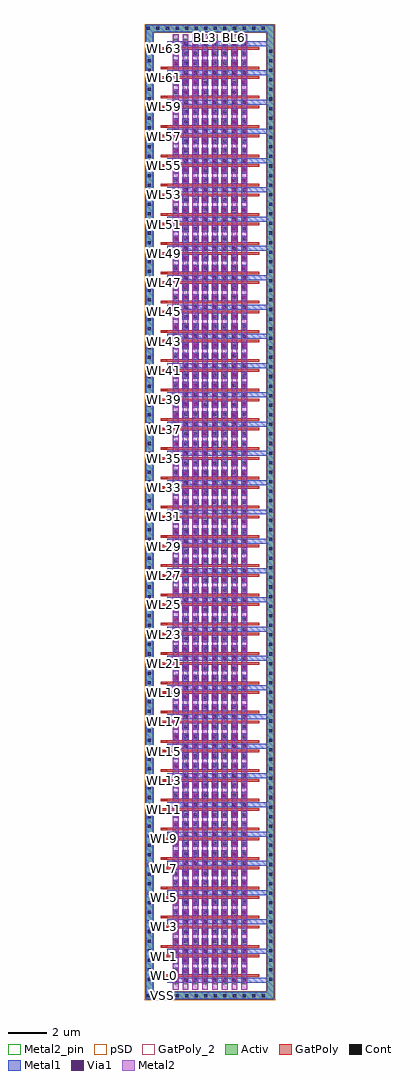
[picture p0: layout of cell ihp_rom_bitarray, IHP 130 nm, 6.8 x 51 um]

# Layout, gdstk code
import gdstk
lib = gdstk.Library(unit=1e-6, precision=1e-09)
def R(c, l, rs):  # rectangles x0, y0, x1, y1
    for r in rs: c.add(gdstk.rectangle(r[:2], r[2:], *l))
def A(c, l, x, y, w, h, nx, ny, dx, dy):  # array of equal rectangles
    R(c, l, [(x+i*dx, y+j*dy, x+i*dx+w, y+j*dy+h) for i in range(nx) for j in range(ny)])
Activ = (1, 0)
GatPoly = (5, 0)
GatPoly_2 = (5, 2)
Cont = (6, 0)
Metal1 = (8, 0)
Metal2 = (10, 0)
Metal2_pin = (10, 2)
pSD = (14, 0)
Via1 = (19, 0)

ihp_rom_bitarray = lib.new_cell('ihp_rom_bitarray')
A(ihp_rom_bitarray, Activ, 0.105, -0.19, 0.3, 0.85, 8, 2, 0.51, 48.49)
A(ihp_rom_bitarray, Activ, 0.105, 0.87, 0.3, 1.32, 8, 31, 0.51, 1.53)
R(ihp_rom_bitarray, Activ, [(-1.33,-0.99,5.41,-0.59), (-1.33,-0.59,-0.93,49.55), (5.01,-0.59,5.41,49.55), (-1.33,49.55,5.41,49.95)])
R(ihp_rom_bitarray, GatPoly, [(-0.53,0.19,4.61,0.32), (-0.53,1.21,4.61,1.34), (-0.53,1.72,4.61,1.85), (-0.53,2.74,4.61,2.87), (-0.53,3.25,4.61,3.38), (-0.53,4.27,4.61,4.4), (-0.53,4.78,4.61,4.91), (-0.53,5.8,4.61,5.93), (-0.53,6.31,4.61,6.44), (-0.53,7.33,4.61,7.46), (-0.53,7.84,4.61,7.97), (-0.53,8.86,4.61,8.99), (-0.53,9.37,4.61,9.5), (-0.53,10.39,4.61,10.52), (-0.53,10.9,4.61,11.03), (-0.53,11.92,4.61,12.05), (-0.53,12.43,4.61,12.56), (-0.53,13.45,4.61,13.58), (-0.53,13.96,4.61,14.09), (-0.53,14.98,4.61,15.11), (-0.53,15.49,4.61,15.62), (-0.53,16.51,4.61,16.64), (-0.53,17.02,4.61,17.15), (-0.53,18.04,4.61,18.17), (-0.53,18.55,4.61,18.68), (-0.53,19.57,4.61,19.7), (-0.53,20.08,4.61,20.21), (-0.53,21.1,4.61,21.23), (-0.53,21.61,4.61,21.74), (-0.53,22.63,4.61,22.76), (-0.53,23.14,4.61,23.27), (-0.53,24.16,4.61,24.29), (-0.53,24.67,4.61,24.8), (-0.53,25.69,4.61,25.82), (-0.53,26.2,4.61,26.33), (-0.53,27.22,4.61,27.35), (-0.53,27.73,4.61,27.86), (-0.53,28.75,4.61,28.88), (-0.53,29.26,4.61,29.39), (-0.53,30.28,4.61,30.41), (-0.53,30.79,4.61,30.92), (-0.53,31.81,4.61,31.94), (-0.53,32.32,4.61,32.45), (-0.53,33.34,4.61,33.47), (-0.53,33.85,4.61,33.98), (-0.53,34.87,4.61,35), (-0.53,35.38,4.61,35.51), (-0.53,36.4,4.61,36.53), (-0.53,36.91,4.61,37.04), (-0.53,37.93,4.61,38.06), (-0.53,38.44,4.61,38.57), (-0.53,39.46,4.61,39.59), (-0.53,39.97,4.61,40.1), (-0.53,40.99,4.61,41.12), (-0.53,41.5,4.61,41.63), (-0.53,42.52,4.61,42.65), (-0.53,43.03,4.61,43.16), (-0.53,44.05,4.61,44.18), (-0.53,44.56,4.61,44.69), (-0.53,45.58,4.61,45.71), (-0.53,46.09,4.61,46.22), (-0.53,47.11,4.61,47.24), (-0.53,47.62,4.61,47.75), (-0.53,48.64,4.61,48.77)])
R(ihp_rom_bitarray, GatPoly_2, [(-0.49,0.21,-0.19,0.3), (-0.49,1.23,-0.19,1.32), (-0.49,1.74,-0.19,1.83), (-0.49,2.76,-0.19,2.85), (-0.49,3.27,-0.19,3.36), (-0.49,4.29,-0.19,4.38), (-0.49,4.8,-0.19,4.89), (-0.49,5.82,-0.19,5.91), (-0.49,6.33,-0.19,6.42), (-0.49,7.35,-0.19,7.44), (-0.49,7.86,-0.19,7.95), (-0.49,8.88,-0.19,8.97), (-0.49,9.39,-0.19,9.48), (-0.49,10.41,-0.19,10.5), (-0.49,10.92,-0.19,11.01), (-0.49,11.94,-0.19,12.03), (-0.49,12.45,-0.19,12.54), (-0.49,13.47,-0.19,13.56), (-0.49,13.98,-0.19,14.07), (-0.49,15,-0.19,15.09), (-0.49,15.51,-0.19,15.6), (-0.49,16.53,-0.19,16.62), (-0.49,17.04,-0.19,17.13), (-0.49,18.06,-0.19,18.15), (-0.49,18.57,-0.19,18.66), (-0.49,19.59,-0.19,19.68), (-0.49,20.1,-0.19,20.19), (-0.49,21.12,-0.19,21.21), (-0.49,21.63,-0.19,21.72), (-0.49,22.65,-0.19,22.74), (-0.49,23.16,-0.19,23.25), (-0.49,24.18,-0.19,24.27), (-0.49,24.69,-0.19,24.78), (-0.49,25.71,-0.19,25.8), (-0.49,26.22,-0.19,26.31), (-0.49,27.24,-0.19,27.33), (-0.49,27.75,-0.19,27.84), (-0.49,28.77,-0.19,28.86), (-0.49,29.28,-0.19,29.37), (-0.49,30.3,-0.19,30.39), (-0.49,30.81,-0.19,30.9), (-0.49,31.83,-0.19,31.92), (-0.49,32.34,-0.19,32.43), (-0.49,33.36,-0.19,33.45), (-0.49,33.87,-0.19,33.96), (-0.49,34.89,-0.19,34.98), (-0.49,35.4,-0.19,35.49), (-0.49,36.42,-0.19,36.51), (-0.49,36.93,-0.19,37.02), (-0.49,37.95,-0.19,38.04), (-0.49,38.46,-0.19,38.55), (-0.49,39.48,-0.19,39.57), (-0.49,39.99,-0.19,40.08), (-0.49,41.01,-0.19,41.1), (-0.49,41.52,-0.19,41.61), (-0.49,42.54,-0.19,42.63), (-0.49,43.05,-0.19,43.14), (-0.49,44.07,-0.19,44.16), (-0.49,44.58,-0.19,44.67), (-0.49,45.6,-0.19,45.69), (-0.49,46.11,-0.19,46.2), (-0.49,47.13,-0.19,47.22), (-0.49,47.64,-0.19,47.73), (-0.49,48.66,-0.19,48.75)])
A(ihp_rom_bitarray, Cont, -1.26, -0.87, 0.16, 0.16, 13, 2, 0.5, 50.54)
A(ihp_rom_bitarray, Cont, 0.175, -0.08, 0.16, 0.16, 8, 97, 0.51, 0.51)
A(ihp_rom_bitarray, Cont, -1.21, -0.02, 0.16, 0.16, 1, 98, 0, 0.5)
A(ihp_rom_bitarray, Cont, 5.13, -0.02, 0.16, 0.16, 1, 98, 0, 0.5)
A(ihp_rom_bitarray, Metal1, -0.2, -0.13, 5.61, 0.26, 1, 33, 0, 1.53)
A(ihp_rom_bitarray, Metal1, 5.01, 0.13, 0.4, 1.27, 1, 32, 0, 1.53)
A(ihp_rom_bitarray, Metal1, 0.09, 0.31, 0.33, 0.365, 8, 2, 0.51, 0.545)
A(ihp_rom_bitarray, Metal1, 0.09, 1.84, 0.33, 0.365, 8, 2, 0.51, 0.545)
A(ihp_rom_bitarray, Metal1, 0.09, 3.37, 0.33, 0.365, 8, 2, 0.51, 0.545)
A(ihp_rom_bitarray, Metal1, 0.09, 4.9, 0.33, 0.365, 8, 2, 0.51, 0.545)
A(ihp_rom_bitarray, Metal1, 0.09, 6.43, 0.33, 0.365, 8, 2, 0.51, 0.545)
A(ihp_rom_bitarray, Metal1, 0.09, 7.96, 0.33, 0.365, 8, 2, 0.51, 0.545)
A(ihp_rom_bitarray, Metal1, 0.09, 9.49, 0.33, 0.365, 8, 2, 0.51, 0.545)
A(ihp_rom_bitarray, Metal1, 0.09, 11.02, 0.33, 0.365, 8, 2, 0.51, 0.545)
A(ihp_rom_bitarray, Metal1, 0.09, 12.55, 0.33, 0.365, 8, 2, 0.51, 0.545)
A(ihp_rom_bitarray, Metal1, 0.09, 14.08, 0.33, 0.365, 8, 2, 0.51, 0.545)
A(ihp_rom_bitarray, Metal1, 0.09, 15.61, 0.33, 0.365, 8, 2, 0.51, 0.545)
A(ihp_rom_bitarray, Metal1, 0.09, 17.14, 0.33, 0.365, 8, 2, 0.51, 0.545)
A(ihp_rom_bitarray, Metal1, 0.09, 18.67, 0.33, 0.365, 8, 2, 0.51, 0.545)
A(ihp_rom_bitarray, Metal1, 0.09, 20.2, 0.33, 0.365, 8, 2, 0.51, 0.545)
A(ihp_rom_bitarray, Metal1, 0.09, 21.73, 0.33, 0.365, 8, 2, 0.51, 0.545)
A(ihp_rom_bitarray, Metal1, 0.09, 23.26, 0.33, 0.365, 8, 2, 0.51, 0.545)
A(ihp_rom_bitarray, Metal1, 0.09, 24.79, 0.33, 0.365, 8, 2, 0.51, 0.545)
A(ihp_rom_bitarray, Metal1, 0.09, 26.32, 0.33, 0.365, 8, 2, 0.51, 0.545)
A(ihp_rom_bitarray, Metal1, 0.09, 27.85, 0.33, 0.365, 8, 2, 0.51, 0.545)
A(ihp_rom_bitarray, Metal1, 0.09, 29.38, 0.33, 0.365, 8, 2, 0.51, 0.545)
A(ihp_rom_bitarray, Metal1, 0.09, 30.91, 0.33, 0.365, 8, 2, 0.51, 0.545)
A(ihp_rom_bitarray, Metal1, 0.09, 32.44, 0.33, 0.365, 8, 2, 0.51, 0.545)
A(ihp_rom_bitarray, Metal1, 0.09, 33.97, 0.33, 0.365, 8, 2, 0.51, 0.545)
A(ihp_rom_bitarray, Metal1, 0.09, 35.5, 0.33, 0.365, 8, 2, 0.51, 0.545)
A(ihp_rom_bitarray, Metal1, 0.09, 37.03, 0.33, 0.365, 8, 2, 0.51, 0.545)
A(ihp_rom_bitarray, Metal1, 0.09, 38.56, 0.33, 0.365, 8, 2, 0.51, 0.545)
A(ihp_rom_bitarray, Metal1, 0.09, 40.09, 0.33, 0.365, 8, 2, 0.51, 0.545)
A(ihp_rom_bitarray, Metal1, 0.09, 41.62, 0.33, 0.365, 8, 2, 0.51, 0.545)
A(ihp_rom_bitarray, Metal1, 0.09, 43.15, 0.33, 0.365, 8, 2, 0.51, 0.545)
A(ihp_rom_bitarray, Metal1, 0.09, 44.68, 0.33, 0.365, 8, 2, 0.51, 0.545)
A(ihp_rom_bitarray, Metal1, 0.09, 46.21, 0.33, 0.365, 8, 2, 0.51, 0.545)
A(ihp_rom_bitarray, Metal1, 0.09, 47.74, 0.33, 0.365, 8, 2, 0.51, 0.545)
R(ihp_rom_bitarray, Metal1, [(-1.33,-0.99,5.41,-0.59), (-1.33,-0.59,-0.93,49.55), (5.01,-0.59,5.41,-0.13), (5.01,49.09,5.41,49.55), (-1.33,49.55,5.41,49.95)])
A(ihp_rom_bitarray, Metal2, 0.105, -0.49, 0.3, 49.94, 8, 1, 0.51, 0)
R(ihp_rom_bitarray, Metal2, [(-0.7,-0.97,-0.2,-0.61)])
A(ihp_rom_bitarray, Metal2_pin, 0.125, 49.19, 0.26, 0.22, 8, 1, 0.51, 0)
R(ihp_rom_bitarray, Metal2_pin, [(-0.7,-0.97,-0.2,-0.61)])
R(ihp_rom_bitarray, pSD, [(-1.36,-1.02,5.44,-0.56), (-1.36,-0.56,-0.9,49.52), (4.98,-0.56,5.44,49.52), (-1.36,49.52,5.44,49.98)])
A(ihp_rom_bitarray, Via1, 0.16, 1.93, 0.19, 0.19, 3, 2, 1.53, 0.545)
A(ihp_rom_bitarray, Via1, 0.16, 4.005, 0.19, 0.19, 3, 2, 1.53, 2.515)
A(ihp_rom_bitarray, Via1, 0.16, 7.065, 0.19, 0.19, 3, 2, 1.53, 0.985)
A(ihp_rom_bitarray, Via1, 0.16, 8.595, 0.19, 0.19, 3, 2, 1.53, 2.515)
A(ihp_rom_bitarray, Via1, 0.16, 11.655, 0.19, 0.19, 3, 2, 1.53, 0.985)
A(ihp_rom_bitarray, Via1, 0.16, 13.185, 0.19, 0.19, 3, 2, 1.53, 2.515)
A(ihp_rom_bitarray, Via1, 0.16, 17.775, 0.19, 0.19, 3, 2, 1.53, 0.985)
A(ihp_rom_bitarray, Via1, 0.16, 20.29, 0.19, 0.19, 3, 2, 1.53, 2.075)
A(ihp_rom_bitarray, Via1, 0.16, 23.35, 0.19, 0.19, 3, 2, 1.53, 1.53)
A(ihp_rom_bitarray, Via1, 0.16, 26.955, 0.19, 0.19, 3, 2, 1.53, 0.985)
A(ihp_rom_bitarray, Via1, 0.16, 28.485, 0.19, 0.19, 3, 2, 1.53, 0.985)
A(ihp_rom_bitarray, Via1, 0.16, 31.545, 0.19, 0.19, 3, 2, 1.53, 2.515)
A(ihp_rom_bitarray, Via1, 0.16, 34.605, 0.19, 0.19, 3, 2, 1.53, 4.045)
A(ihp_rom_bitarray, Via1, 0.16, 39.195, 0.19, 0.19, 3, 2, 1.53, 1.53)
A(ihp_rom_bitarray, Via1, 0.16, 43.24, 0.19, 0.19, 3, 2, 1.53, 0.545)
A(ihp_rom_bitarray, Via1, 0.16, 44.77, 0.19, 0.19, 3, 2, 1.53, 0.545)
A(ihp_rom_bitarray, Via1, 0.16, 47.83, 0.19, 0.19, 3, 2, 1.53, 0.545)
R(ihp_rom_bitarray, Via1, [(-0.545,-0.885,-0.355,-0.695), (0.67,0.4,0.86,0.59), (1.18,0.4,1.37,0.59), (2.2,0.4,2.39,0.59), (2.71,0.4,2.9,0.59), (3.73,0.4,3.92,0.59), (0.67,0.945,0.86,1.135), (1.18,0.945,1.37,1.135), (2.2,0.945,2.39,1.135), (2.71,0.945,2.9,1.135), (3.73,0.945,3.92,1.135), (0.67,3.46,0.86,3.65), (1.18,3.46,1.37,3.65), (2.2,3.46,2.39,3.65), (2.71,3.46,2.9,3.65), (3.73,3.46,3.92,3.65), (0.67,4.99,0.86,5.18), (1.18,4.99,1.37,5.18), (2.2,4.99,2.39,5.18), (2.71,4.99,2.9,5.18), (3.73,4.99,3.92,5.18), (0.67,5.535,0.86,5.725), (1.18,5.535,1.37,5.725), (2.2,5.535,2.39,5.725), (2.71,5.535,2.9,5.725), (3.73,5.535,3.92,5.725), (0.67,9.58,0.86,9.77), (1.18,9.58,1.37,9.77), (2.2,9.58,2.39,9.77), (2.71,9.58,2.9,9.77), (3.73,9.58,3.92,9.77), (0.67,10.125,0.86,10.315), (1.18,10.125,1.37,10.315), (2.2,10.125,2.39,10.315), (2.71,10.125,2.9,10.315), (3.73,10.125,3.92,10.315), (0.67,14.17,0.86,14.36), (1.18,14.17,1.37,14.36), (2.2,14.17,2.39,14.36), (2.71,14.17,2.9,14.36), (3.73,14.17,3.92,14.36), (0.67,14.715,0.86,14.905), (1.18,14.715,1.37,14.905), (2.2,14.715,2.39,14.905), (2.71,14.715,2.9,14.905), (3.73,14.715,3.92,14.905), (0.67,16.245,0.86,16.435), (1.18,16.245,1.37,16.435), (2.2,16.245,2.39,16.435), (2.71,16.245,2.9,16.435), (3.73,16.245,3.92,16.435), (0.67,17.23,0.86,17.42), (1.18,17.23,1.37,17.42), (2.2,17.23,2.39,17.42), (2.71,17.23,2.9,17.42), (3.73,17.23,3.92,17.42), (0.67,19.305,0.86,19.495), (1.18,19.305,1.37,19.495), (2.2,19.305,2.39,19.495), (2.71,19.305,2.9,19.495), (3.73,19.305,3.92,19.495), (0.67,20.835,0.86,21.025), (1.18,20.835,1.37,21.025), (2.2,20.835,2.39,21.025), (2.71,20.835,2.9,21.025), (3.73,20.835,3.92,21.025), (0.67,21.82,0.86,22.01), (1.18,21.82,1.37,22.01), (2.2,21.82,2.39,22.01), (2.71,21.82,2.9,22.01), (3.73,21.82,3.92,22.01), (0.67,23.895,0.86,24.085), (1.18,23.895,1.37,24.085), (2.2,23.895,2.39,24.085), (2.71,23.895,2.9,24.085), (3.73,23.895,3.92,24.085), (0.67,25.425,0.86,25.615), (1.18,25.425,1.37,25.615), (2.2,25.425,2.39,25.615), (2.71,25.425,2.9,25.615), (3.73,25.425,3.92,25.615), (0.67,26.41,0.86,26.6), (1.18,26.41,1.37,26.6), (2.2,26.41,2.39,26.6), (2.71,26.41,2.9,26.6), (3.73,26.41,3.92,26.6), (0.67,30.015,0.86,30.205), (1.18,30.015,1.37,30.205), (2.2,30.015,2.39,30.205), (2.71,30.015,2.9,30.205), (3.73,30.015,3.92,30.205), (0.67,31,0.86,31.19), (1.18,31,1.37,31.19), (2.2,31,2.39,31.19), (2.71,31,2.9,31.19), (3.73,31,3.92,31.19), (0.67,32.53,0.86,32.72), (1.18,32.53,1.37,32.72), (2.2,32.53,2.39,32.72), (2.71,32.53,2.9,32.72), (3.73,32.53,3.92,32.72), (0.67,33.075,0.86,33.265), (1.18,33.075,1.37,33.265), (2.2,33.075,2.39,33.265), (2.71,33.075,2.9,33.265), (3.73,33.075,3.92,33.265), (0.67,35.59,0.86,35.78), (1.18,35.59,1.37,35.78), (2.2,35.59,2.39,35.78), (2.71,35.59,2.9,35.78), (3.73,35.59,3.92,35.78), (0.67,36.135,0.86,36.325), (1.18,36.135,1.37,36.325), (2.2,36.135,2.39,36.325), (2.71,36.135,2.9,36.325), (3.73,36.135,3.92,36.325), (0.67,37.12,0.86,37.31), (1.18,37.12,1.37,37.31), (2.2,37.12,2.39,37.31), (2.71,37.12,2.9,37.31), (3.73,37.12,3.92,37.31), (0.67,37.665,0.86,37.855), (1.18,37.665,1.37,37.855), (2.2,37.665,2.39,37.855), (2.71,37.665,2.9,37.855), (3.73,37.665,3.92,37.855), (0.67,40.18,0.86,40.37), (1.18,40.18,1.37,40.37), (2.2,40.18,2.39,40.37), (2.71,40.18,2.9,40.37), (3.73,40.18,3.92,40.37), (0.67,41.71,0.86,41.9), (1.18,41.71,1.37,41.9), (2.2,41.71,2.39,41.9), (2.71,41.71,2.9,41.9), (3.73,41.71,3.92,41.9), (0.67,42.255,0.86,42.445), (1.18,42.255,1.37,42.445), (2.2,42.255,2.39,42.445), (2.71,42.255,2.9,42.445), (3.73,42.255,3.92,42.445), (0.67,46.3,0.86,46.49), (1.18,46.3,1.37,46.49), (2.2,46.3,2.39,46.49), (2.71,46.3,2.9,46.49), (3.73,46.3,3.92,46.49), (0.67,46.845,0.86,47.035), (1.18,46.845,1.37,47.035), (2.2,46.845,2.39,47.035), (2.71,46.845,2.9,47.035), (3.73,46.845,3.92,47.035)])
ihp_rom_bitarray.add(gdstk.Label('VSS', (-0.45,-0.79), layer=10, texttype=25))
ihp_rom_bitarray.add(gdstk.Label('WL0', (-0.34,0.255), layer=5, texttype=2))
ihp_rom_bitarray.add(gdstk.Label('WL1', (-0.34,1.275), layer=5, texttype=2))
ihp_rom_bitarray.add(gdstk.Label('WL2', (-0.34,1.785), layer=5, texttype=2))
ihp_rom_bitarray.add(gdstk.Label('WL3', (-0.34,2.805), layer=5, texttype=2))
ihp_rom_bitarray.add(gdstk.Label('WL4', (-0.34,3.315), layer=5, texttype=2))
ihp_rom_bitarray.add(gdstk.Label('WL5', (-0.34,4.335), layer=5, texttype=2))
ihp_rom_bitarray.add(gdstk.Label('WL6', (-0.34,4.845), layer=5, texttype=2))
ihp_rom_bitarray.add(gdstk.Label('WL7', (-0.34,5.865), layer=5, texttype=2))
ihp_rom_bitarray.add(gdstk.Label('WL8', (-0.34,6.375), layer=5, texttype=2))
ihp_rom_bitarray.add(gdstk.Label('WL9', (-0.34,7.395), layer=5, texttype=2))
ihp_rom_bitarray.add(gdstk.Label('WL10', (-0.34,7.905), layer=5, texttype=2))
ihp_rom_bitarray.add(gdstk.Label('WL11', (-0.34,8.925), layer=5, texttype=2))
ihp_rom_bitarray.add(gdstk.Label('WL12', (-0.34,9.435), layer=5, texttype=2))
ihp_rom_bitarray.add(gdstk.Label('WL13', (-0.34,10.455), layer=5, texttype=2))
ihp_rom_bitarray.add(gdstk.Label('WL14', (-0.34,10.965), layer=5, texttype=2))
ihp_rom_bitarray.add(gdstk.Label('WL15', (-0.34,11.985), layer=5, texttype=2))
ihp_rom_bitarray.add(gdstk.Label('WL16', (-0.34,12.495), layer=5, texttype=2))
ihp_rom_bitarray.add(gdstk.Label('WL17', (-0.34,13.515), layer=5, texttype=2))
ihp_rom_bitarray.add(gdstk.Label('WL18', (-0.34,14.025), layer=5, texttype=2))
ihp_rom_bitarray.add(gdstk.Label('WL19', (-0.34,15.045), layer=5, texttype=2))
ihp_rom_bitarray.add(gdstk.Label('WL20', (-0.34,15.555), layer=5, texttype=2))
ihp_rom_bitarray.add(gdstk.Label('WL21', (-0.34,16.575), layer=5, texttype=2))
ihp_rom_bitarray.add(gdstk.Label('WL22', (-0.34,17.085), layer=5, texttype=2))
ihp_rom_bitarray.add(gdstk.Label('WL23', (-0.34,18.105), layer=5, texttype=2))
ihp_rom_bitarray.add(gdstk.Label('WL24', (-0.34,18.615), layer=5, texttype=2))
ihp_rom_bitarray.add(gdstk.Label('WL25', (-0.34,19.635), layer=5, texttype=2))
ihp_rom_bitarray.add(gdstk.Label('WL26', (-0.34,20.145), layer=5, texttype=2))
ihp_rom_bitarray.add(gdstk.Label('WL27', (-0.34,21.165), layer=5, texttype=2))
ihp_rom_bitarray.add(gdstk.Label('WL28', (-0.34,21.675), layer=5, texttype=2))
ihp_rom_bitarray.add(gdstk.Label('WL29', (-0.34,22.695), layer=5, texttype=2))
ihp_rom_bitarray.add(gdstk.Label('WL30', (-0.34,23.205), layer=5, texttype=2))
ihp_rom_bitarray.add(gdstk.Label('WL31', (-0.34,24.225), layer=5, texttype=2))
ihp_rom_bitarray.add(gdstk.Label('WL32', (-0.34,24.735), layer=5, texttype=2))
ihp_rom_bitarray.add(gdstk.Label('WL33', (-0.34,25.755), layer=5, texttype=2))
ihp_rom_bitarray.add(gdstk.Label('WL34', (-0.34,26.265), layer=5, texttype=2))
ihp_rom_bitarray.add(gdstk.Label('WL35', (-0.34,27.285), layer=5, texttype=2))
ihp_rom_bitarray.add(gdstk.Label('WL36', (-0.34,27.795), layer=5, texttype=2))
ihp_rom_bitarray.add(gdstk.Label('WL37', (-0.34,28.815), layer=5, texttype=2))
ihp_rom_bitarray.add(gdstk.Label('WL38', (-0.34,29.325), layer=5, texttype=2))
ihp_rom_bitarray.add(gdstk.Label('WL39', (-0.34,30.345), layer=5, texttype=2))
ihp_rom_bitarray.add(gdstk.Label('WL40', (-0.34,30.855), layer=5, texttype=2))
ihp_rom_bitarray.add(gdstk.Label('WL41', (-0.34,31.875), layer=5, texttype=2))
ihp_rom_bitarray.add(gdstk.Label('WL42', (-0.34,32.385), layer=5, texttype=2))
ihp_rom_bitarray.add(gdstk.Label('WL43', (-0.34,33.405), layer=5, texttype=2))
ihp_rom_bitarray.add(gdstk.Label('WL44', (-0.34,33.915), layer=5, texttype=2))
ihp_rom_bitarray.add(gdstk.Label('WL45', (-0.34,34.935), layer=5, texttype=2))
ihp_rom_bitarray.add(gdstk.Label('WL46', (-0.34,35.445), layer=5, texttype=2))
ihp_rom_bitarray.add(gdstk.Label('WL47', (-0.34,36.465), layer=5, texttype=2))
ihp_rom_bitarray.add(gdstk.Label('WL48', (-0.34,36.975), layer=5, texttype=2))
ihp_rom_bitarray.add(gdstk.Label('WL49', (-0.34,37.995), layer=5, texttype=2))
ihp_rom_bitarray.add(gdstk.Label('WL50', (-0.34,38.505), layer=5, texttype=2))
ihp_rom_bitarray.add(gdstk.Label('WL51', (-0.34,39.525), layer=5, texttype=2))
ihp_rom_bitarray.add(gdstk.Label('WL52', (-0.34,40.035), layer=5, texttype=2))
ihp_rom_bitarray.add(gdstk.Label('WL53', (-0.34,41.055), layer=5, texttype=2))
ihp_rom_bitarray.add(gdstk.Label('WL54', (-0.34,41.565), layer=5, texttype=2))
ihp_rom_bitarray.add(gdstk.Label('WL55', (-0.34,42.585), layer=5, texttype=2))
ihp_rom_bitarray.add(gdstk.Label('WL56', (-0.34,43.095), layer=5, texttype=2))
ihp_rom_bitarray.add(gdstk.Label('WL57', (-0.34,44.115), layer=5, texttype=2))
ihp_rom_bitarray.add(gdstk.Label('WL58', (-0.34,44.625), layer=5, texttype=2))
ihp_rom_bitarray.add(gdstk.Label('WL59', (-0.34,45.645), layer=5, texttype=2))
ihp_rom_bitarray.add(gdstk.Label('WL60', (-0.34,46.155), layer=5, texttype=2))
ihp_rom_bitarray.add(gdstk.Label('WL61', (-0.34,47.175), layer=5, texttype=2))
ihp_rom_bitarray.add(gdstk.Label('WL62', (-0.34,47.685), layer=5, texttype=2))
ihp_rom_bitarray.add(gdstk.Label('WL63', (-0.34,48.705), layer=5, texttype=2))
ihp_rom_bitarray.add(gdstk.Label('BL0', (0.255,49.3), layer=10, texttype=25))
ihp_rom_bitarray.add(gdstk.Label('BL1', (0.765,49.3), layer=10, texttype=25))
ihp_rom_bitarray.add(gdstk.Label('BL2', (1.275,49.3), layer=10, texttype=25))
ihp_rom_bitarray.add(gdstk.Label('BL3', (1.785,49.3), layer=10, texttype=25))
ihp_rom_bitarray.add(gdstk.Label('BL4', (2.295,49.3), layer=10, texttype=25))
ihp_rom_bitarray.add(gdstk.Label('BL5', (2.805,49.3), layer=10, texttype=25))
ihp_rom_bitarray.add(gdstk.Label('BL6', (3.315,49.3), layer=10, texttype=25))
ihp_rom_bitarray.add(gdstk.Label('BL7', (3.825,49.3), layer=10, texttype=25))

lib.write_gds('ihp_rom_bitarray.gds')
